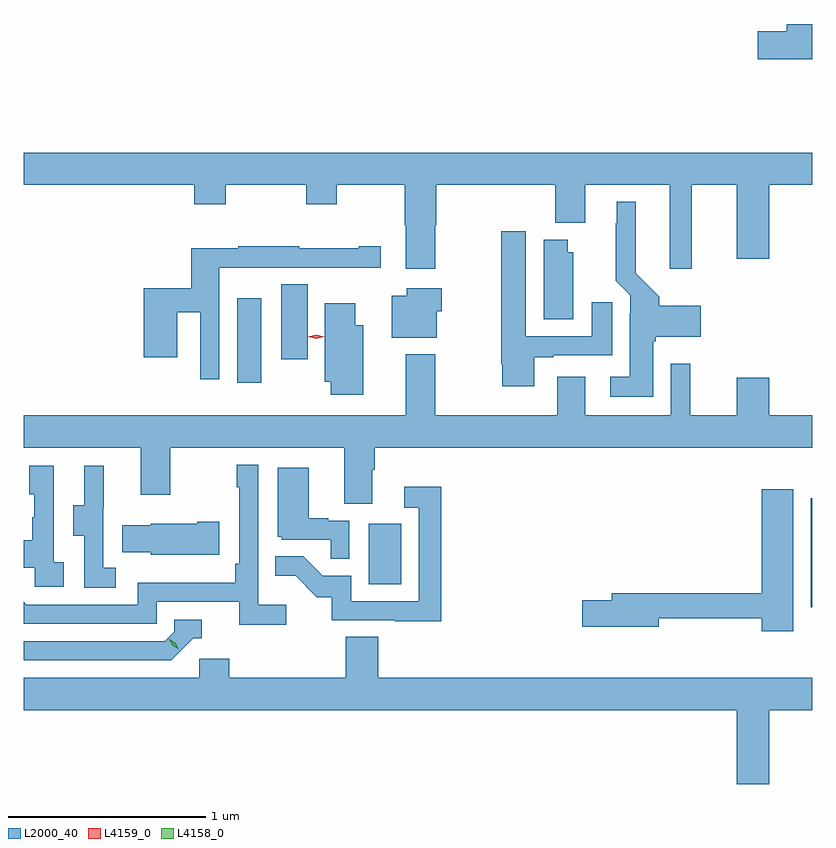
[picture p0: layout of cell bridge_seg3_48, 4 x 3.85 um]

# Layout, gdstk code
import gdstk
lib = gdstk.Library(unit=1e-6, precision=1e-09)
def R(c, l, rs):  # rectangles x0, y0, x1, y1
    for r in rs: c.add(gdstk.rectangle(r[:2], r[2:], *l))
def P(c, l, *ps):  # polygons
    for p in ps: c.add(gdstk.Polygon(p, *l))
L2000_40 = (2000, 40)
L4158_0 = (4158, 0)
L4159_0 = (4159, 0)

bridge_seg3_48 = lib.new_cell('bridge_seg3_48')
R(bridge_seg3_48, L2000_40, [(992.556,701.439,992.564,701.99), (990.314,701.556,990.478,701.863), (989.648,702.576,989.77,703.006), (989.87,702.696,990.004,703.076)])
P(bridge_seg3_48, L2000_40, [(992.564,704.396),(992.435,704.396),(992.435,704.36),(992.286,704.36),(992.286,704.218),(992.564,704.218)],
  [(990.651,703.376),(990.656,703.376),(990.656,703.58),(991.259,703.58),(991.259,703.388),(991.411,703.388),(991.411,703.58),(991.841,703.58),(991.841,703.155),(991.951,703.155),(991.951,703.58),(992.18,703.58),(992.18,703.206),(992.344,703.206),(992.344,703.58),(992.564,703.58),(992.564,703.744),(988.564,703.744),(988.564,703.58),(989.429,703.58),(989.429,703.481),(989.589,703.481),(989.589,703.58),(989.998,703.58),(989.998,703.481),(990.153,703.481),(990.153,703.58),(990.496,703.58),(990.496,703.376),(990.503,703.376),(990.503,703.155),(990.651,703.155)],
  [(991.756,702.786),(991.77,702.786),(991.77,702.809),(991.999,702.809),(991.999,702.967),(991.787,702.967),(991.787,703.014),(991.669,703.132),(991.669,703.495),(991.571,703.495),(991.571,703.385),(991.567,703.385),(991.567,703.094),(991.641,703.02),(991.641,702.926),(991.637,702.926),(991.637,702.607),(991.539,702.607),(991.539,702.506),(991.756,702.506)],
  [(991.153,702.705),(991.249,702.705),(991.249,702.717),(991.549,702.717),(991.549,702.985),(991.445,702.985),(991.445,702.813),(991.111,702.813),(991.111,703.345),(990.985,703.345),(990.985,702.67),(990.992,702.67),(990.992,702.558),(991.153,702.558)],
  [(991.351,703.239),(991.324,703.239),(991.324,703.303),(991.202,703.303),(991.202,702.898),(991.351,702.898)],
  [(989.556,703.16),(989.766,703.16),(989.766,703.161),(990.1,703.161),(990.1,703.16),(990.376,703.16),(990.376,703.27),(990.263,703.27),(990.263,703.26),(989.963,703.26),(989.963,703.27),(989.653,703.27),(989.653,703.26),(989.414,703.26),(989.414,703.057),(989.174,703.057),(989.174,702.705),(989.344,702.705),(989.344,702.935),(989.46,702.935),(989.46,702.594),(989.556,702.594)],
  [(990.658,702.939),(990.684,702.939),(990.684,703.057),(990.506,703.057),(990.506,703.018),(990.431,703.018),(990.431,702.806),(990.658,702.806)],
  [(990.286,702.868),(990.247,702.868),(990.247,702.979),(990.092,702.979),(990.092,702.581),(990.121,702.581),(990.121,702.516),(990.286,702.516)],
  [(990.331,702.136),(990.344,702.136),(990.344,702.248),(992.564,702.248),(992.564,702.412),(992.344,702.412),(992.344,702.601),(992.18,702.601),(992.18,702.412),(991.944,702.412),(991.944,702.673),(991.845,702.673),(991.845,702.412),(991.411,702.412),(991.411,702.607),(991.271,702.607),(991.271,702.412),(990.651,702.412),(990.651,702.721),(990.503,702.721),(990.503,702.412),(988.564,702.412),(988.564,702.248),(989.159,702.248),(989.159,702.009),(989.307,702.009),(989.307,702.248),(990.191,702.248),(990.191,701.962),(990.331,701.962)],
  [(989.896,701.452),(989.754,701.452),(989.754,702.16),(989.646,702.16),(989.646,702.047),(989.658,702.047),(989.658,701.659),(989.638,701.659),(989.638,701.563),(989.142,701.563),(989.142,701.451),(988.578,701.451),(988.564,701.465),(988.564,701.355),(989.238,701.355),(989.238,701.466),(989.657,701.466),(989.657,701.35),(989.896,701.35)],
  [(989.032,701.639),(988.968,701.639),(988.968,701.943),(988.97,701.943),(988.97,702.157),(988.871,702.157),(988.871,701.955),(988.817,701.955),(988.817,701.8),(988.872,701.8),(988.872,701.536),(989.032,701.536)],
  [(988.768,701.666),(988.716,701.666),(988.716,702.157),(988.592,702.157),(988.592,702.012),(988.618,702.012),(988.618,701.894),(988.608,701.894),(988.608,701.779),(988.564,701.779),(988.564,701.639),(988.62,701.639),(988.62,701.541),(988.768,701.541)],
  [(990.216,701.877),(990.11,701.877),(990.11,701.89),(990.01,701.89),(990.01,702.145),(989.852,702.145),(989.852,701.796),(989.874,701.796),(989.874,701.781),(990.121,701.781),(990.121,701.683),(990.216,701.683)],
  [(990.683,702.049),(990.495,702.049),(990.495,701.943),(990.567,701.943),(990.567,701.469),(990.225,701.469),(990.225,701.598),(990.081,701.598),(989.983,701.696),(989.839,701.696),(989.839,701.597),(989.943,701.597),(990.05,701.49),(990.127,701.49),(990.127,701.373),(990.445,701.373),(990.445,701.368),(990.683,701.368)],
  [(992.467,702.037),(992.306,702.037),(992.306,701.51),(991.547,701.51),(991.547,701.474),(991.398,701.474),(991.398,701.339),(991.786,701.339),(991.786,701.382),(992.306,701.382),(992.306,701.316),(992.467,701.316)],
  [(989.557,701.871),(989.444,701.871),(989.444,701.863),(989.208,701.863),(989.208,701.854),(989.065,701.854),(989.065,701.717),(989.208,701.717),(989.208,701.705),(989.557,701.705)],
  [(989.424,701.28),(989.467,701.28),(989.467,701.376),(989.328,701.376),(989.328,701.313),(989.28,701.265),(988.564,701.265),(988.564,701.169),(989.313,701.169)],
  [(992.344,700.916),(992.564,700.916),(992.564,701.08),(990.362,701.08),(990.362,701.288),(990.197,701.288),(990.197,701.08),(989.606,701.08),(989.606,701.178),(989.454,701.178),(989.454,701.08),(988.564,701.08),(988.564,700.916),(992.18,700.916),(992.18,700.542),(992.344,700.542)])
P(bridge_seg3_48, L4158_0, [(989.35,701.226),(989.319,701.245),(989.302,701.278),(989.302,701.278),(989.303,701.278),(989.334,701.259),(989.35,701.226),(989.35,701.226)])
P(bridge_seg3_48, L4159_0, [(990.047,702.8),(990.006,702.81),(990.006,702.811),(990.006,702.811),(990.047,702.82),(990.088,702.81),(990.088,702.81),(990.088,702.809)])

lib.write_gds('bridge_seg3_48.gds')
